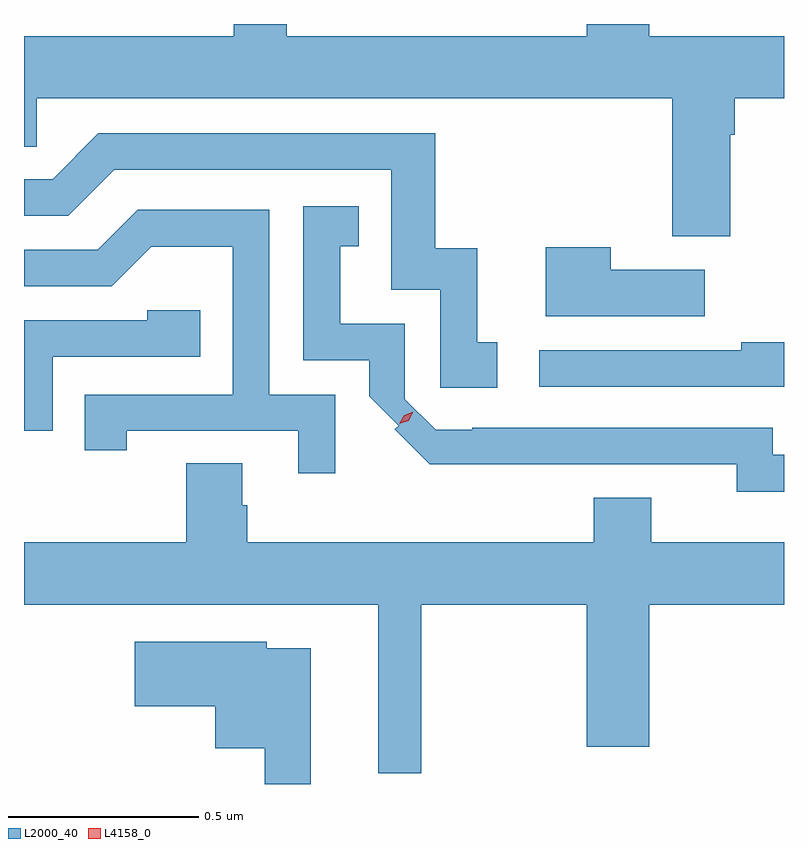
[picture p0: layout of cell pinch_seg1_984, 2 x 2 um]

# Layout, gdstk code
import gdstk
lib = gdstk.Library(unit=1e-6, precision=1e-09)
def P(c, l, *ps):  # polygons
    for p in ps: c.add(gdstk.Polygon(p, *l))
L2000_40 = (2000, 40)
L4158_0 = (4158, 0)

pinch_seg1_984 = lib.new_cell('pinch_seg1_984')
P(pinch_seg1_984, L2000_40, [(129.421,521),(129.434,521),(129.434,521.096),(129.563,521.096),(129.563,521.26),(129.208,521.26),(129.208,521.292),(129.044,521.292),(129.044,521.26),(128.254,521.26),(128.254,521.292),(128.115,521.292),(128.115,521.26),(127.563,521.26),(127.563,520.969),(127.596,520.969),(127.596,521.096),(129.269,521.096),(129.269,520.734),(129.421,520.734)],
  [(128.809,520.455),(128.756,520.455),(128.756,520.702),(128.645,520.702),(128.645,521.004),(127.758,521.004),(127.638,520.884),(127.563,520.884),(127.563,520.788),(127.68,520.788),(127.8,520.908),(128.529,520.908),(128.529,520.593),(128.658,520.593),(128.658,520.335),(128.809,520.335)],
  [(129.563,520.158),(129.534,520.158),(129.534,520.23),(128.743,520.23),(128.743,520.224),(128.646,520.224),(128.565,520.305),(128.565,520.503),(128.395,520.503),(128.395,520.707),(128.444,520.707),(128.444,520.813),(128.298,520.813),(128.298,520.407),(128.472,520.407),(128.472,520.312),(128.549,520.235),(128.539,520.225),(128.631,520.133),(128.978,520.133),(128.978,520.134),(129.438,520.134),(129.438,520.061),(129.563,520.061)],
  [(128.382,520.317),(128.208,520.317),(128.208,520.803),(127.862,520.803),(127.757,520.698),(127.563,520.698),(127.563,520.602),(127.794,520.602),(127.898,520.706),(128.112,520.706),(128.112,520.317),(127.723,520.317),(127.723,520.17),(127.834,520.17),(127.834,520.221),(128.285,520.221),(128.285,520.11),(128.382,520.11)],
  [(129.355,520.645),(129.107,520.645),(129.107,520.705),(128.936,520.705),(128.936,520.523),(129.355,520.523)],
  [(127.638,520.416),(128.027,520.416),(128.027,520.539),(127.887,520.539),(127.887,520.512),(127.563,520.512),(127.563,520.221),(127.638,520.221)],
  [(129.563,520.454),(129.451,520.454),(129.451,520.434),(128.919,520.434),(128.919,520.338),(129.563,520.338)],
  [(128.15,520.026),(128.137,520.026),(128.137,520.136),(127.99,520.136),(127.99,519.928),(127.563,519.928),(127.563,519.764),(128.495,519.764),(128.495,519.32),(128.609,519.32),(128.609,519.764),(129.044,519.764),(129.044,519.39),(129.208,519.39),(129.208,519.764),(129.563,519.764),(129.563,519.928),(129.214,519.928),(129.214,520.045),(129.062,520.045),(129.062,519.928),(128.15,519.928)],
  [(128.317,519.649),(128.202,519.649),(128.202,519.667),(127.854,519.667),(127.854,519.496),(128.066,519.496),(128.066,519.386),(128.196,519.386),(128.196,519.292),(128.317,519.292)])
P(pinch_seg1_984, L4158_0, [(128.551,520.24),(128.551,520.24),(128.563,520.263),(128.587,520.271),(128.587,520.271),(128.587,520.271),(128.576,520.248),(128.551,520.24)])

lib.write_gds('pinch_seg1_984.gds')
